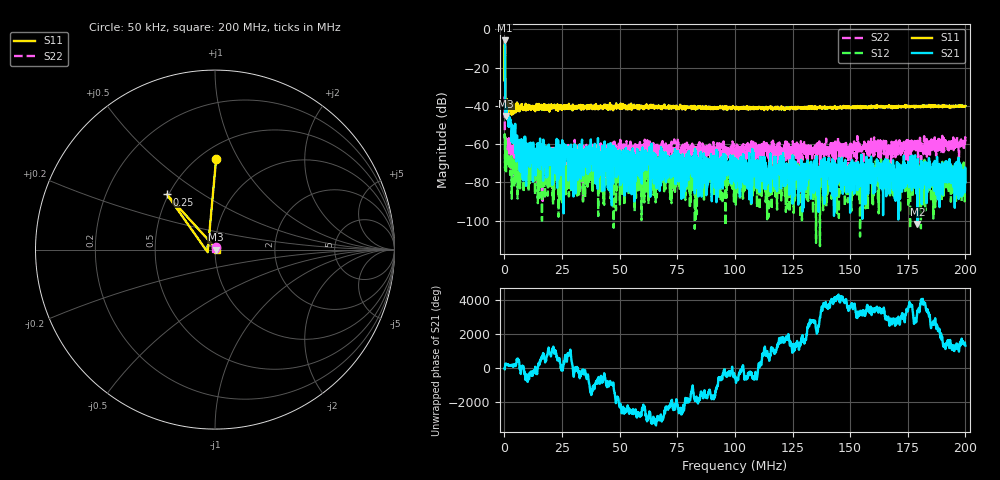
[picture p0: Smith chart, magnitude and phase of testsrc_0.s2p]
! 26-Feb-26 2:08:33 PM
! E:\VNA_MEASUREMENTS\CAL_ENDS\TESTSRC_0.S2P
! CHANNEL.1
! TR.MEASUREMENT
! CORRECTED.DATA
# GHZ S RI R 50.0
! FREQ.GHZ  S11RE  S11IM  S21RE  S21IM  S12RE  S12IM  S22RE  S22IM
!; PortSelection: Port_12
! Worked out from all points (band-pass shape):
!   2000 points, 50 kHz to 200 MHz, reference 50 ohm
!   highest |S21| = -5.74 dB at 50 kHz (marker M1); lowest = -101.8 dB at 179.2 MHz (marker M2)
!   |S21| within 3 dB of the highest: start of sweep to 218.6 kHz
!   lowest |S11| = -45.2 dB at 750.2 kHz (marker M3), VSWR 1.01, Z = 50.6 + j0.00987 ohm
!   |S11| at or under -10 dB: 68.96 kHz to 238.7 kHz (169.7 kHz wide, 110 % of centre); 258.5 kHz to end of sweep
!   |S22| runs from -89.7 to -35.0 dB; largest |S21 - S12| = 0.52
!   S11 on the Smith chart (normalised r, x): 50 kHz: 0.60, +0.81; 250 kHz: 0.49, +0.36; 200 MHz: 1.02, -0.00
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5e-05  0.00612 0.5024  0.4709 -0.2124  0.00135 7.29e-05  0.00568 0.0169
0.00025005  -0.2679 0.3071  -0.0447 0.3143  0.000156 0.000172  -0.000418 -0.000998
0.000750175  0.00548 9.76e-05  -0.00556 -0.00701  -0.000231 0.00018  -0.00133 0.000414
0.001350325  0.00715 -0.00111  -0.0055 -0.00289  0.000273 0.000446  -0.00049 -0.000275
0.0032508  0.0107 0.000468  -0.00162 0.00157  0.000176 4.58e-05  -0.00033 0.000294
0.007151776  0.00993 -0.000849  -6.08e-05 0.00117  -0.000171 -5.97e-05  0.000711 -3e-07
0.008152026  0.00851 0.000411  1.79e-05 0.000111  -0.000324 -0.000345  0.000292 -6.86e-05
0.0128532  0.00783 -0.000356  -0.000272 0.000326  -0.000148 0.000201  8.58e-05 0.000283
0.03345835  0.00988 -0.000644  -0.000695 -0.000426  6.1e-05 -0.000106  0.000769 0.000214
0.03815953  0.00823 -0.000216  -0.00028 0.000115  3.23e-05 0.000166  8.23e-05 0.000348
0.04036008  0.00927 0.000806  -9e-07 -0.000698  -3.7e-05 0.000313  0.000471 -1.52e-05
0.05416353  0.0107 -0.000306  -8.68e-05 -0.000544  0.000161 2.33e-05  0.000806 0.000429
0.06206551  0.00965 -0.00133  9.95e-05 -0.000512  -2.65e-05 -0.000239  0.000845 0.000142
0.06676668  0.00915 -0.000826  5.58e-05 -0.00013  -0.000187 8.42e-05  0.000788 0.000371
0.06896723  0.00946 0.000227  9.39e-05 -9.78e-05  -0.000123 9.2e-05  0.000556 0.000389
0.100075  0.00852 -0.000546  -9.63e-05 2.69e-05  5.7e-06 3.97e-05  0.000492 0.000428
0.1333833  0.00869 -0.000729  3.4e-05 -5.09e-05  -4.22e-05 8.52e-05  0.000522 0.000387
0.1458865  0.0089 -0.00142  -0.00011 -0.000158  1.59e-05 0.000108  0.000427 0.000381
0.1666917  0.00929 -0.00129  6.62e-05 -3.17e-05  0.000384 0.000177  0.000418 0.000285
0.1791948  0.00961 -0.00122  -8.1e-06 1e-06  -5.1e-06 -0.000262  0.000907 0.000252
0.1923981  0.00971 -0.00109  0.000193 0.00011  -4.41e-05 -0.000179  0.000787 0.000974
0.2  0.00992 -0.000861  -5.18e-05 -8.73e-05  -0.000138 -3.45e-05  0.000356 0.00113
